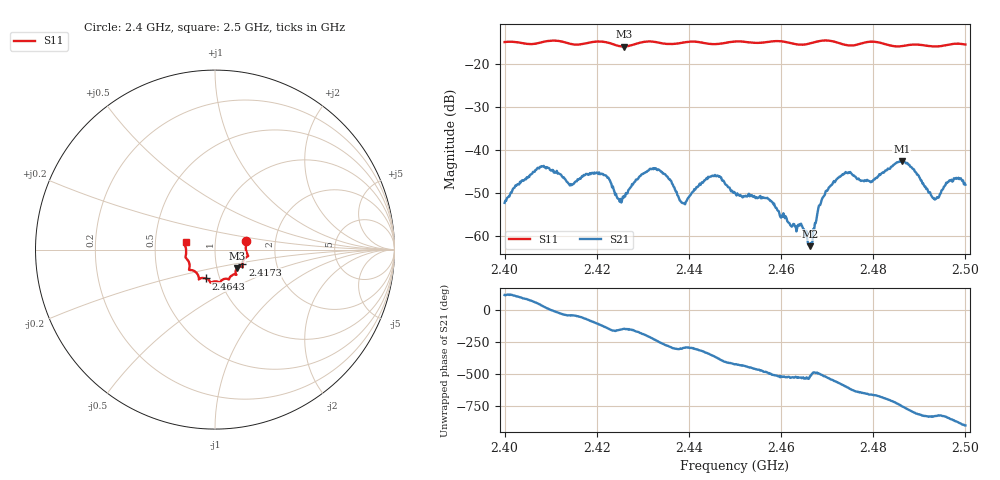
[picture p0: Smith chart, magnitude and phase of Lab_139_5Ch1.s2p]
# Hz S RI R 50
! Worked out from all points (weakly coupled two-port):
!   601 points, 2.4 GHz to 2.5 GHz, reference 50 ohm
!   highest |S21| = -42.58 dB at 2.4862 GHz (marker M1); lowest = -62.4 dB at 2.4663 GHz (marker M2)
!   lowest |S11| = -15.9 dB at 2.4258 GHz (marker M3), VSWR 1.38, Z = 62.4 - j13.3 ohm
!   |S11| at or under -10 dB: start of sweep to end of sweep
!   S12 and S22 are empty: the file has one direction only
!   S11 on the Smith chart (normalised r, x): 2.4 GHz: 1.41, +0.14; 2.4173 GHz: 1.34, -0.23; 2.4643 GHz: 0.86, -0.28; 2.5 GHz: 0.72, +0.06
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2.4e9  0.1745 0.0488  -0.00117 0.00213  0 0  0 0
2.408e9  0.1787 -0.0211  0.00525 0.00385  0 0  0 0
2.414333e9  0.165 -0.0497  0.00293 -0.00277  0 0  0 0
2.416667e9  0.1533 -0.0749  0.00277 -0.00397  0 0  0 0
2.417333e9  0.1524 -0.0826  0.00207 -0.00465  0 0  0 0
2.421667e9  0.1539 -0.0966  -0.00342 -0.00383  0 0  0 0
2.425833e9  0.1224 -0.1042  -0.00233 -0.00153  0 0  0 0
2.433333e9  0.1136 -0.1381  -0.00242 0.00545  0 0  0 0
2.438667e9  0.0803 -0.1593  0.00113 0.00214  0 0  0 0
2.445167e9  0.0539 -0.1628  0.00504 0.000291  0 0  0 0
2.45e9  0.0281 -0.182  0.00133 -0.00287  0 0  0 0
2.457e9  -0.015 -0.1808  -0.00174 -0.00217  0 0  0 0
2.464333e9  -0.0508 -0.1607  -0.00136 -0.000268  0 0  0 0
2.466333e9  -0.074 -0.1584  -0.000693 -0.000314  0 0  0 0
2.466667e9  -0.0772 -0.1591  -0.000612 -0.000496  0 0  0 0
2.468667e9  -0.0889 -0.1652  -0.00205 -0.00135  0 0  0 0
2.471833e9  -0.0895 -0.1577  -0.00414 0.00142  0 0  0 0
2.483333e9  -0.1412 -0.0891  0.00575 0.0018  0 0  0 0
2.486167e9  -0.1508 -0.06  0.00629 -0.00396  0 0  0 0
2.493167e9  -0.1606 -0.0107  -0.00112 -0.00253  0 0  0 0
2.4965e9  -0.1677 0.0257  -0.00275 -0.00347  0 0  0 0
2.5e9  -0.1636 0.044  -0.00394 0.000342  0 0  0 0
